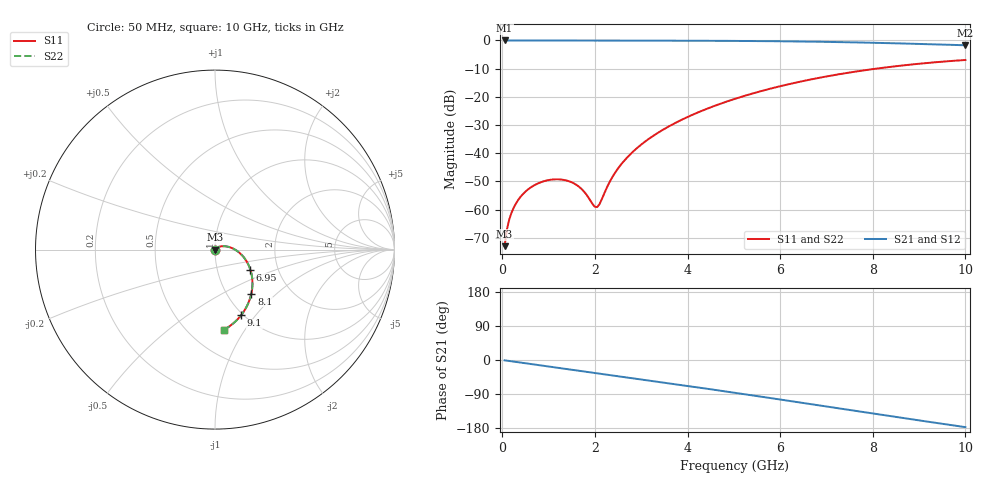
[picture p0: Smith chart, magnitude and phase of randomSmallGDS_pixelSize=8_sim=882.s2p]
! freq	dB(S11)	phase(S11)	dB(S12)	phase(S12)
!  dB(S21)	phase(S21)	dB(S22)	phase(S22)
!S-par simulation data
#  GHz  S  DB  R 50
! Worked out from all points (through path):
!   200 points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, 50 MHz to 10 GHz, reference 50 ohm
!   highest |S21| = 0.00 dB at 50 MHz (marker M1); lowest = -1.7 dB at 10 GHz (marker M2)
!   group delay of S21, straight-line fit = 49.5 ps
!   lowest |S11| = -73.0 dB at 50 MHz (marker M3), VSWR 1.00, Z = 50 - j0.0223 ohm
!   |S11| at or under -10 dB: start of sweep to 8.077 GHz
!   |S22| runs from -73.0 to -6.9 dB; largest |S21 - S12| = 0
!   S11 on the Smith chart (normalised r, x): 50 MHz: 1.00, -0.00; 6.95 GHz: 1.44, -0.34; 8.1 GHz: 1.29, -0.70; 9.1 GHz: 0.98, -0.85; 10 GHz: 0.72, -0.81
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0.05  -72.99 -84.7  -0.00 -0.9  -0.00 -0.9  -73.00 -84.7
0.1  -67.03 -89.0  -0.00 -1.7  -0.00 -1.7  -67.03 -89.0
0.15  -63.55 -91.2  -0.00 -2.6  -0.00 -2.6  -63.55 -91.2
0.25  -59.21 -94.3  -0.00 -4.3  -0.00 -4.3  -59.21 -94.3
0.6  -52.32 -102.9  -0.01 -10.2  -0.01 -10.2  -52.32 -103.0
0.9  -49.94 -110.0  -0.02 -15.3  -0.02 -15.3  -49.94 -110.1
1.25  -49.32 -119.3  -0.02 -21.2  -0.02 -21.2  -49.32 -119.5
1.55  -50.75 -130.2  -0.03 -26.3  -0.03 -26.3  -50.74 -130.5
1.75  -53.35 -143.0  -0.03 -29.7  -0.03 -29.7  -53.32 -143.5
2.05  -59.11 141.7  -0.04 -34.8  -0.04 -34.8  -58.92 141.7
2.35  -49.25 72.8  -0.04 -39.9  -0.04 -39.9  -49.21 73.3
2.6  -43.30 58.8  -0.05 -44.2  -0.05 -44.2  -43.29 59.1
2.95  -37.62 47.8  -0.06 -50.2  -0.06 -50.2  -37.61 48.0
3.4  -32.37 37.3  -0.07 -58.0  -0.07 -58.0  -32.37 37.5
4.15  -26.06 22.4  -0.10 -71.1  -0.10 -71.1  -26.06 22.5
5.05  -20.58 5.6  -0.16 -87.0  -0.16 -87.0  -20.58 5.7
6.7  -13.71 -24.9  -0.42 -117.1  -0.42 -117.1  -13.71 -24.8
6.95  -12.92 -29.5  -0.49 -121.7  -0.49 -121.7  -12.92 -29.4
8.1  -9.95 -50.5  -0.85 -142.9  -0.85 -142.9  -9.95 -50.4
8.35  -9.43 -55.0  -0.95 -147.5  -0.95 -147.5  -9.43 -54.9
9.1  -8.10 -68.3  -1.27 -161.2  -1.27 -161.2  -8.10 -68.2
10  -6.93 -83.8  -1.71 -177.2  -1.71 -177.2  -6.93 -83.7
